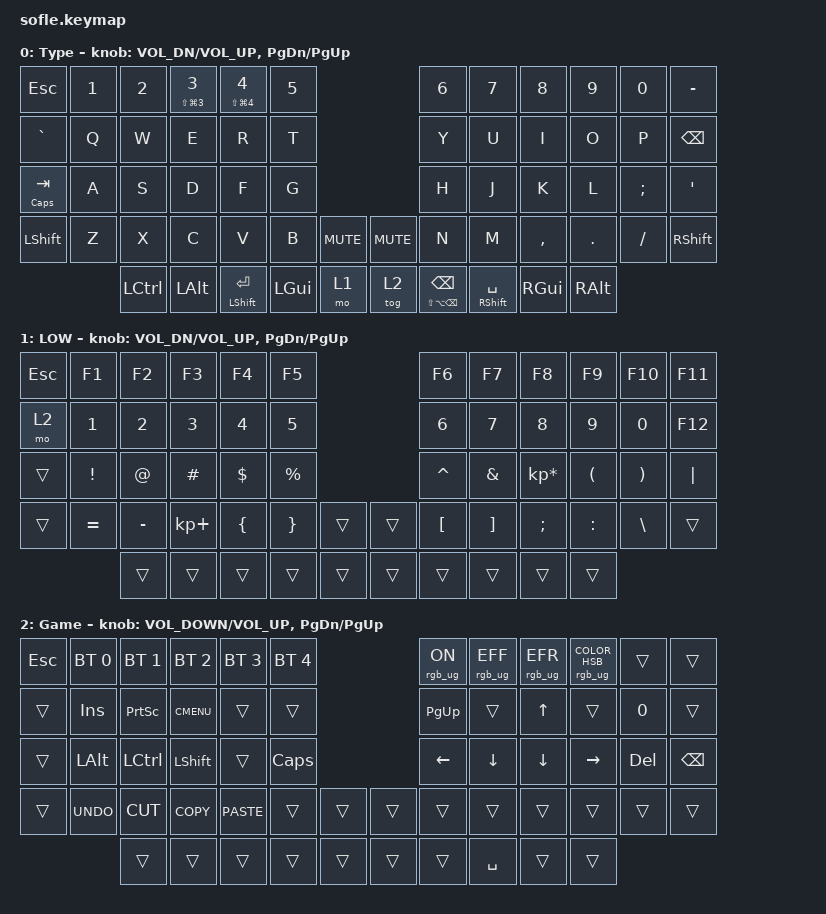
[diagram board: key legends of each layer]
/*
 * Copyright (c) 2020 The ZMK Contributors
 *
 * SPDX-License-Identifier: MIT
 */

#include <behaviors.dtsi>
#include <dt-bindings/zmk/bt.h>
#include <dt-bindings/zmk/keys.h>
#include <dt-bindings/zmk/rgb.h>

&mt {
    tapping-term-ms = <250>;
    flavor = "balanced";
};

/ {
    keymap {
        compatible = "zmk,keymap";

        Typing {
            display-name = "Type";

            // ------------------------------------------------------------------------------------------------------------
            // |  `    |  1  |  2  |  3   |  4   |  5   |                   |  6   |  7    |  8    |  9   |   0   |       |
            // |  ESC  |  Q  |  W  |  E   |  R   |  T   |                   |  Y   |  U    |  I    |  O   |   P   | BKSPC |
            // |  TAB  |  A  |  S  |  D   |  F   |  G   |                   |  H   |  J    |  K    |  L   |   ;   |   '   |
            // | SHIFT |  Z  |  X  |  C   |  V   |  B   |  MUTE  |  |       |  N   |  M    |  ,    |  .   |   /   | SHIFT |
            //               | GUI | ALT  | CTRL | LOWER|  ENTER |  | SPACE | RAISE| CTRL  | ALT   | GUI  |

            bindings = <
&kp ESCAPE    &kp N1  &kp N2     &mt LS(LG(N3)) NUMBER_3  &mt LS(LG(N4)) N4     &kp N5                                  &kp N6                           &kp N7                 &kp N8         &kp N9         &kp N0    &kp MINUS
&kp GRAVE     &kp Q   &kp W      &kp E                    &kp R                 &kp T                                   &kp Y                            &kp U                  &kp I          &kp O          &kp P     &kp BSPC
&mt CAPS TAB  &kp A   &kp S      &kp D                    &kp F                 &kp G                                   &kp H                            &kp J                  &kp K          &kp L          &kp SEMI  &kp SQT
&kp LSHFT     &kp Z   &kp X      &kp C                    &kp V                 &kp B         &kp C_MUTE    &kp C_MUTE  &kp N                            &kp M                  &kp COMMA      &kp DOT        &kp FSLH  &kp RSHFT
                      &kp LCTRL  &kp LALT                 &mt LEFT_SHIFT ENTER  &kp LEFT_GUI  &mo 1         &tog 2      &mt LS(LA(BACKSPACE)) BACKSPACE  &mt RIGHT_SHIFT SPACE  &kp RIGHT_GUI  &kp RIGHT_ALT
            >;

            sensor-bindings =
                <&inc_dec_kp C_VOL_DN C_VOL_UP>,
                <&inc_dec_kp PG_DN PG_UP>;
        };

        lower_layer {
            display-name = "LOW";

            // ------------------------------------------------------------------------------------------------------------
            // | `     |  F1 |  F2 |  F3  |  F4  |  F5  |                   |  F6  |  F7   |  F8   |  F9  |  F10  |  F11  |
            // | RAISE |   1 |   2 |   3  |   4  |   5  |                   |   6  |   7   |   8   |   9  |    0  |  F12  |
            // |       |  !  |  @  |  #   |  $   |  %   |                   |  ^   |  &    |  *    |  (   |   )   |   |   |
            // |       |  =  |  -  |  +   |  {   |  }   |        |  |       |  [   |  ]    |  ;    |  :   |   \   |       |
            //               |     |      |      |      |        |  |       |      |       |       |      |

            bindings = <
&kp ESC  &kp F1     &kp F2     &kp F3       &kp F4    &kp F5                       &kp F6     &kp F7    &kp F8           &kp F9     &kp F10   &kp F11
&mo 2    &kp N1     &kp N2     &kp N3       &kp N4    &kp N5                       &kp N6     &kp N7    &kp N8           &kp N9     &kp N0    &kp F12
&trans   &kp EXCL   &kp AT     &kp HASH     &kp DLLR  &kp PRCNT                    &kp CARET  &kp AMPS  &kp KP_MULTIPLY  &kp LPAR   &kp RPAR  &kp PIPE
&trans   &kp EQUAL  &kp MINUS  &kp KP_PLUS  &kp LBRC  &kp RBRC   &trans    &trans  &kp LBKT   &kp RBKT  &kp SEMI         &kp COLON  &kp BSLH  &trans
                    &trans     &trans       &trans    &trans     &trans    &trans  &trans     &trans    &trans           &trans
            >;

            sensor-bindings =
                <&inc_dec_kp C_VOL_DN C_VOL_UP>,
                <&inc_dec_kp PG_DN PG_UP>;
        };

        Gaming {
            display-name = "Game";

            // ------------------------------------------------------------------------------------------------------------
            // |BTCLR| BT1  | BT2  |  BT3  |  BT4  |  BT5 |                |      |      |       |      |       |       |
            // |     | INS  | PSCR | GUI   |       |      |                | PGUP |      |       |      |       |       |
            // |     | ALT  | CTRL | SHIFT |       | CAPS |                |  <-  |   v  |   ^   |  ->  |  DEL  | BKSPC |
            // |     | UNDO | CUT  | COPY  | PASTE |      |      |  |      |      |      |       |      |       |       |
            //              |      |       |       |      |      |  |      |      |      |       |      |

            bindings = <
&kp ESCAPE  &bt BT_SEL 0  &bt BT_SEL 1  &bt BT_SEL 2  &bt BT_SEL 3  &bt BT_SEL 4                    &rgb_ug RGB_ON  &rgb_ug RGB_EFF  &rgb_ug RGB_EFR  &rgb_ug RGB_COLOR_HSB(185,77,50)  &trans   &trans
&trans      &kp INS       &kp PSCRN     &kp K_CMENU   &trans        &trans                          &kp PG_UP       &trans           &kp UP_ARROW     &trans                            &kp N0   &trans
&trans      &kp LALT      &kp LCTRL     &kp LSHFT     &trans        &kp CLCK                        &kp LEFT        &kp DOWN         &kp DOWN_ARROW   &kp RIGHT                         &kp DEL  &kp BSPC
&trans      &kp K_UNDO    &kp K_CUT     &kp K_COPY    &kp K_PASTE   &trans        &trans    &trans  &trans          &trans           &trans           &trans                            &trans   &trans
                          &trans        &trans        &trans        &trans        &trans    &trans  &trans          &kp SPACE        &trans           &trans
            >;

            sensor-bindings =
                <&inc_dec_kp K_VOLUME_DOWN C_VOLUME_UP>,
                <&inc_dec_kp PG_DN PG_UP>;
        };
    };
};
